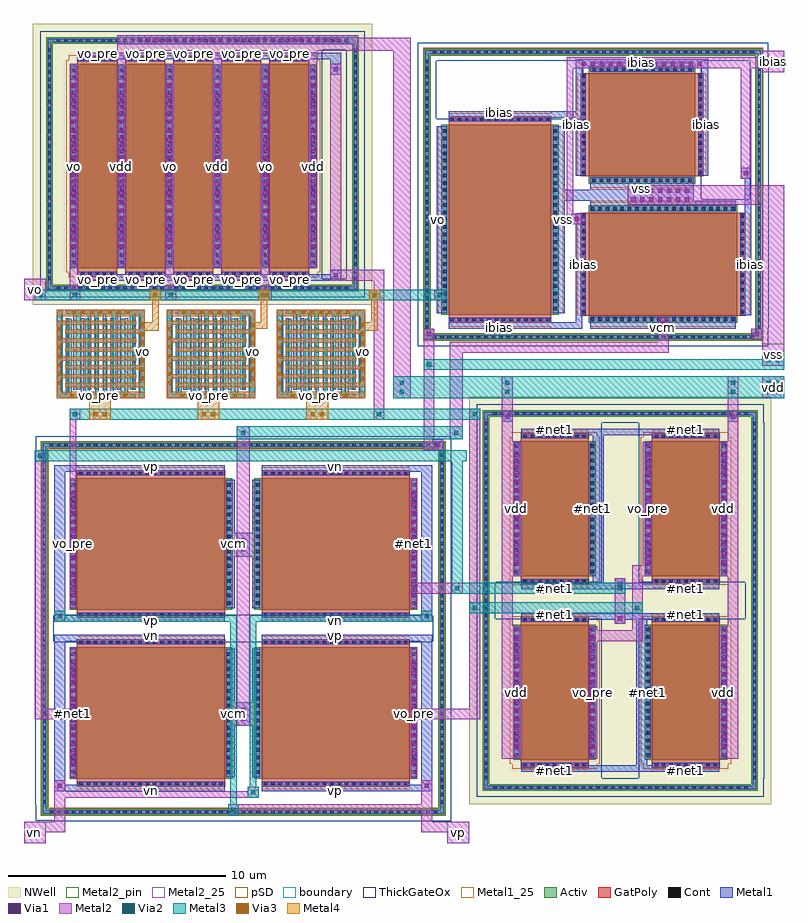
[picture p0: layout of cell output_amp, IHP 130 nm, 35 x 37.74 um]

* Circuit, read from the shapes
.subckt output_amp #net1 ibias vcm vdd vn vo vo_pre vp vss
XM1 vcm vn #net1 vss sg13_hv_nmos w=6.05u l=6.82u m=2
XM2 vcm vp vo_pre vss sg13_hv_nmos w=6.05u l=6.82u m=2
XM3 vss ibias vo vss sg13_hv_nmos w=8.77u l=4.74u
XM4 vss ibias vcm vss sg13_hv_nmos w=6.84u l=4.74u
XM5 ibias ibias vss vss sg13_hv_nmos w=4.91u l=4.74u
XM6 vdd vo_pre vo vdd sg13_hv_pmos w=9.41u l=1.83u m=5
XM7 vo_pre #net1 vdd vdd sg13_hv_pmos w=6.22u l=3.12u m=2
XM8 #net1 #net1 vdd vdd sg13_hv_pmos w=6.22u l=3.12u m=2
.ends

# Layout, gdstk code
from math import pi, radians
import gdstk
lib = gdstk.Library(unit=1e-6, precision=1e-09)
def R(c, l, rs):  # rectangles x0, y0, x1, y1
    for r in rs: c.add(gdstk.rectangle(r[:2], r[2:], *l))
def A(c, l, x, y, w, h, nx, ny, dx, dy):  # array of equal rectangles
    R(c, l, [(x+i*dx, y+j*dy, x+i*dx+w, y+j*dy+h) for i in range(nx) for j in range(ny)])
Activ = (1, 0)
GatPoly = (5, 0)
Cont = (6, 0)
Metal1 = (8, 0)
Metal1_25 = (8, 25)
Metal2 = (10, 0)
Metal2_pin = (10, 2)
Metal2_25 = (10, 25)
pSD = (14, 0)
Via1 = (19, 0)
Via2 = (29, 0)
Metal3 = (30, 0)
NWell = (31, 0)
ThickGateOx = (44, 0)
Via3 = (49, 0)
Metal4 = (50, 0)
boundary = (189, 4)

output_amp__load = lib.new_cell('output_amp__load')
R(output_amp__load, Activ, [(20.62,1.42,33.3,1.72), (20.62,1.72,20.92,18.64), (33,1.72,33.3,18.64), (20.62,18.64,33.3,18.94)])
A(output_amp__load, Cont, 21.1, 1.49, 0.16, 0.16, 35, 2, 0.34, 17.22)
A(output_amp__load, Cont, 20.69, 1.94, 0.16, 0.16, 1, 49, 0, 0.34)
A(output_amp__load, Cont, 33.07, 1.94, 0.16, 0.16, 1, 49, 0, 0.34)
R(output_amp__load, Metal1, [(20.69,1.49,33.23,1.65), (20.69,1.65,20.85,18.71), (33.07,1.65,33.23,18.71), (20.69,18.71,33.23,18.87)])
R(output_amp__load, NWell, [(20,0.8,33.92,19.56)])
R(output_amp__load, ThickGateOx, [(21.19,1.14,33.57,1.145), (21.105,1.145,33.57,1.15), (20.35,1.15,33.57,1.905), (20.345,1.905,33.575,1.99), (20.34,1.99,33.58,2), (20.34,2,21.285,2.005), (32.715,2,33.58,2.085), (20.34,2.005,21.205,2.085), (20.34,2.085,21.2,18.275), (32.72,2.085,33.58,18.275), (20.34,18.275,21.205,18.37), (32.715,18.275,33.58,18.37), (20.345,18.37,33.575,18.465), (20.35,18.465,33.57,19.21)])
output_amp__load.add(gdstk.Label('vdd', (26.96,1.57), layer=8, texttype=25))

output_amp__input = lib.new_cell('output_amp__input')
R(output_amp__input, Activ, [(0.3,0.3,18.9,0.6), (0.3,0.6,0.6,17.18), (18.6,0.6,18.9,17.18), (0.3,17.18,18.9,17.48)])
A(output_amp__input, Cont, 0.68, 0.37, 0.16, 0.16, 53, 2, 0.34, 16.88)
A(output_amp__input, Cont, 0.37, 0.82, 0.16, 0.16, 1, 48, 0, 0.34)
A(output_amp__input, Cont, 18.67, 0.82, 0.16, 0.16, 1, 48, 0, 0.34)
R(output_amp__input, Metal1, [(0.37,0.37,18.83,0.53), (0.37,0.53,0.53,17.25), (18.67,0.53,18.83,17.25), (0.37,17.25,18.83,17.41)])
R(output_amp__input, pSD, [(0.27,0.27,18.93,0.63), (0.27,0.63,0.63,17.15), (18.57,0.63,18.93,17.15), (0.27,17.15,18.93,17.51)])
R(output_amp__input, ThickGateOx, [(0.87,0.02,19.17,0.025), (0.785,0.025,19.17,0.03), (0.03,0.03,19.17,0.785), (0.025,0.785,19.175,0.87), (0.02,0.87,19.18,0.88), (0.02,0.88,0.965,0.885), (18.315,0.88,19.18,0.965), (0.02,0.885,0.885,0.965), (0.02,0.965,0.88,16.815), (18.32,0.965,19.18,16.815), (0.02,16.815,0.885,16.91), (18.315,16.815,19.18,16.91), (0.025,16.91,19.175,17.005), (0.03,17.005,19.17,17.75)])
output_amp__input.add(gdstk.Label('vss', (9.6,0.45), layer=8, texttype=25))

output_amp__bias_mirror = lib.new_cell('output_amp__bias_mirror')
R(output_amp__bias_mirror, Activ, [(17.01,21.16,32.61,21.46), (17.01,21.46,17.31,34.3), (32.31,21.46,32.61,34.3), (17.01,34.3,32.61,34.6)])
A(output_amp__bias_mirror, Cont, 17.42, 21.23, 0.16, 0.16, 44, 2, 0.34, 13.14)
A(output_amp__bias_mirror, Cont, 17.08, 21.68, 0.16, 0.16, 1, 37, 0, 0.34)
A(output_amp__bias_mirror, Cont, 32.38, 21.68, 0.16, 0.16, 1, 37, 0, 0.34)
R(output_amp__bias_mirror, Metal1, [(17.08,21.23,32.54,21.39), (17.08,21.39,17.24,34.37), (32.38,21.39,32.54,34.37), (17.08,34.37,32.54,34.53)])
R(output_amp__bias_mirror, pSD, [(16.98,21.13,32.64,21.49), (16.98,21.49,17.34,34.27), (32.28,21.49,32.64,34.27), (16.98,34.27,32.64,34.63)])
R(output_amp__bias_mirror, ThickGateOx, [(17.58,20.88,32.88,20.885), (17.495,20.885,32.88,20.89), (16.74,20.89,32.88,21.645), (16.735,21.645,32.885,21.73), (16.73,21.73,32.89,21.74), (16.73,21.74,17.675,21.745), (32.025,21.74,32.89,21.825), (16.73,21.745,17.595,21.825), (16.73,21.825,17.59,33.935), (32.03,21.825,32.89,33.935), (16.73,33.935,17.595,34.03), (32.025,33.935,32.89,34.03), (16.735,34.03,32.885,34.125), (16.74,34.125,32.88,34.87)])
output_amp__bias_mirror.add(gdstk.Label('SUB', (24.81,21.31), layer=8, texttype=25))

sg13_hv_pmos_jhnrfj = lib.new_cell('sg13_hv_pmos_JHNRFJ')
R(sg13_hv_pmos_jhnrfj, Activ, [(-5.675,-4.705,5.675,4.705)])
A(sg13_hv_pmos_jhnrfj, GatPoly, -5.335, -5.075, 1.83, 10.15, 5, 1, 2.21, 0)
A(sg13_hv_pmos_jhnrfj, Cont, -5.18, -5.005, 0.16, 0.16, 5, 2, 0.34, 9.85)
A(sg13_hv_pmos_jhnrfj, Cont, -2.97, -5.005, 0.16, 0.16, 5, 2, 0.34, 9.85)
A(sg13_hv_pmos_jhnrfj, Cont, -0.76, -5.005, 0.16, 0.16, 5, 2, 0.34, 9.85)
A(sg13_hv_pmos_jhnrfj, Cont, 1.45, -5.005, 0.16, 0.16, 5, 2, 0.34, 9.85)
A(sg13_hv_pmos_jhnrfj, Cont, 3.66, -5.005, 0.16, 0.16, 5, 2, 0.34, 9.85)
A(sg13_hv_pmos_jhnrfj, Cont, -5.605, -4.5, 0.16, 0.16, 6, 27, 2.21, 0.34)
A(sg13_hv_pmos_jhnrfj, Metal1, -5.315, -5.005, 1.79, 0.16, 5, 2, 2.21, 9.85)
A(sg13_hv_pmos_jhnrfj, Metal1, -5.655, -4.635, 0.26, 9.27, 6, 1, 2.21, 0)
R(sg13_hv_pmos_jhnrfj, pSD, [(-5.735,-5.105,5.735,-4.885), (-5.855,-4.885,5.855,4.885), (-5.735,4.885,5.735,5.105)])
R(sg13_hv_pmos_jhnrfj, NWell, [(-6.295,-5.325,6.295,5.325)])
R(sg13_hv_pmos_jhnrfj, ThickGateOx, [(-5.945,-4.975,5.945,4.975)])
sg13_hv_pmos_jhnrfj.add(gdstk.Label('D0', (-5.525,0), layer=8, texttype=25))
sg13_hv_pmos_jhnrfj.add(gdstk.Label('G0', (-4.42,4.925), layer=8, texttype=25))
sg13_hv_pmos_jhnrfj.add(gdstk.Label('S1', (-3.315,0), layer=8, texttype=25))
sg13_hv_pmos_jhnrfj.add(gdstk.Label('G1', (-2.21,4.925), layer=8, texttype=25))
sg13_hv_pmos_jhnrfj.add(gdstk.Label('D2', (-1.105,0), layer=8, texttype=25))
sg13_hv_pmos_jhnrfj.add(gdstk.Label('G2', (0,4.925), layer=8, texttype=25))
sg13_hv_pmos_jhnrfj.add(gdstk.Label('S3', (1.105,0), layer=8, texttype=25))
sg13_hv_pmos_jhnrfj.add(gdstk.Label('G3', (2.21,4.925), layer=8, texttype=25))
sg13_hv_pmos_jhnrfj.add(gdstk.Label('D4', (3.315,0), layer=8, texttype=25))
sg13_hv_pmos_jhnrfj.add(gdstk.Label('S4', (5.525,0), layer=8, texttype=25))
sg13_hv_pmos_jhnrfj.add(gdstk.Label('G4', (4.42,4.925), layer=8, texttype=25))

sg13_hv_pmos_ltz4pf = lib.new_cell('sg13_hv_pmos_LTZ4PF')
R(sg13_hv_pmos_ltz4pf, Activ, [(-1.9,-3.11,1.9,3.11)])
R(sg13_hv_pmos_ltz4pf, GatPoly, [(-1.56,-3.48,1.56,3.48)])
A(sg13_hv_pmos_ltz4pf, Cont, -1.44, -3.41, 0.16, 0.16, 9, 2, 0.34, 6.66)
A(sg13_hv_pmos_ltz4pf, Cont, -1.83, -2.97, 0.16, 0.16, 1, 18, 0, 0.34)
A(sg13_hv_pmos_ltz4pf, Cont, 1.67, -2.97, 0.16, 0.16, 1, 18, 0, 0.34)
R(sg13_hv_pmos_ltz4pf, Metal1, [(-1.54,-3.41,1.54,-3.25), (-1.88,-3.04,-1.62,3.04), (1.62,-3.04,1.88,3.04), (-1.54,3.25,1.54,3.41)])
R(sg13_hv_pmos_ltz4pf, pSD, [(-1.96,-3.51,1.96,-3.29), (-2.08,-3.29,2.08,3.29), (-1.96,3.29,1.96,3.51)])
R(sg13_hv_pmos_ltz4pf, NWell, [(-2.52,-3.73,2.52,3.73)])
R(sg13_hv_pmos_ltz4pf, ThickGateOx, [(-2.17,-3.38,2.17,3.38)])
sg13_hv_pmos_ltz4pf.add(gdstk.Label('D', (-1.75,0), layer=8, texttype=25))
sg13_hv_pmos_ltz4pf.add(gdstk.Label('S', (1.75,0), layer=8, texttype=25))
sg13_hv_pmos_ltz4pf.add(gdstk.Label('G', (0,3.33), layer=8, texttype=25))

sg13_hv_nmos_8zady4 = lib.new_cell('sg13_hv_nmos_8ZADY4')
R(sg13_hv_nmos_8zady4, Activ, [(-3.75,-3.025,3.75,3.025)])
R(sg13_hv_nmos_8zady4, GatPoly, [(-3.41,-3.395,3.41,3.395)])
A(sg13_hv_nmos_8zady4, Cont, -3.31, -3.325, 0.16, 0.16, 20, 2, 0.34, 6.49)
A(sg13_hv_nmos_8zady4, Cont, -3.68, -2.8, 0.16, 0.16, 1, 17, 0, 0.34)
A(sg13_hv_nmos_8zady4, Cont, 3.52, -2.8, 0.16, 0.16, 1, 17, 0, 0.34)
R(sg13_hv_nmos_8zady4, Metal1, [(-3.39,-3.325,3.39,-3.165), (-3.73,-2.955,-3.47,2.955), (3.47,-2.955,3.73,2.955), (-3.39,3.165,3.39,3.325)])
R(sg13_hv_nmos_8zady4, ThickGateOx, [(-4.02,-3.295,4.02,3.295)])
sg13_hv_nmos_8zady4.add(gdstk.Label('D', (-3.6,0), layer=8, texttype=25))
sg13_hv_nmos_8zady4.add(gdstk.Label('S', (3.6,0), layer=8, texttype=25))
sg13_hv_nmos_8zady4.add(gdstk.Label('G', (0,3.245), layer=8, texttype=25))

sg13_hv_nmos_ug3wab = lib.new_cell('sg13_hv_nmos_UG3WAB')
R(sg13_hv_nmos_ug3wab, Activ, [(-2.71,-4.385,2.71,4.385)])
R(sg13_hv_nmos_ug3wab, GatPoly, [(-2.37,-4.755,2.37,4.755)])
A(sg13_hv_nmos_ug3wab, Cont, -2.29, -4.685, 0.16, 0.16, 14, 2, 0.34, 9.21)
A(sg13_hv_nmos_ug3wab, Cont, -2.64, -4.16, 0.16, 0.16, 1, 25, 0, 0.34)
A(sg13_hv_nmos_ug3wab, Cont, 2.48, -4.16, 0.16, 0.16, 1, 25, 0, 0.34)
R(sg13_hv_nmos_ug3wab, Metal1, [(-2.35,-4.685,2.35,-4.525), (-2.69,-4.315,-2.43,4.315), (2.43,-4.315,2.69,4.315), (-2.35,4.525,2.35,4.685)])
R(sg13_hv_nmos_ug3wab, ThickGateOx, [(-2.98,-4.655,2.98,4.655)])
sg13_hv_nmos_ug3wab.add(gdstk.Label('D', (-2.56,0), layer=8, texttype=25))
sg13_hv_nmos_ug3wab.add(gdstk.Label('S', (2.56,0), layer=8, texttype=25))
sg13_hv_nmos_ug3wab.add(gdstk.Label('G', (0,4.605), layer=8, texttype=25))

sg13_hv_nmos_z5u2v7 = lib.new_cell('sg13_hv_nmos_Z5U2V7')
R(sg13_hv_nmos_z5u2v7, Activ, [(-2.71,-3.42,2.71,3.42)])
R(sg13_hv_nmos_z5u2v7, GatPoly, [(-2.37,-3.79,2.37,3.79)])
A(sg13_hv_nmos_z5u2v7, Cont, -2.29, -3.72, 0.16, 0.16, 14, 2, 0.34, 7.28)
A(sg13_hv_nmos_z5u2v7, Cont, -2.64, -3.31, 0.16, 0.16, 1, 20, 0, 0.34)
A(sg13_hv_nmos_z5u2v7, Cont, 2.48, -3.31, 0.16, 0.16, 1, 20, 0, 0.34)
R(sg13_hv_nmos_z5u2v7, Metal1, [(-2.35,-3.72,2.35,-3.56), (-2.69,-3.35,-2.43,3.35), (2.43,-3.35,2.69,3.35), (-2.35,3.56,2.35,3.72)])
R(sg13_hv_nmos_z5u2v7, ThickGateOx, [(-2.98,-3.69,2.98,3.69)])
sg13_hv_nmos_z5u2v7.add(gdstk.Label('D', (-2.56,0), layer=8, texttype=25))
sg13_hv_nmos_z5u2v7.add(gdstk.Label('S', (2.56,0), layer=8, texttype=25))
sg13_hv_nmos_z5u2v7.add(gdstk.Label('G', (0,3.64), layer=8, texttype=25))

sg13_hv_nmos_xv93th = lib.new_cell('sg13_hv_nmos_XV93TH')
R(sg13_hv_nmos_xv93th, Activ, [(-2.71,-2.455,2.71,2.455)])
R(sg13_hv_nmos_xv93th, GatPoly, [(-2.37,-2.825,2.37,2.825)])
A(sg13_hv_nmos_xv93th, Cont, -2.29, -2.755, 0.16, 0.16, 14, 2, 0.34, 5.35)
A(sg13_hv_nmos_xv93th, Cont, -2.64, -2.29, 0.16, 0.16, 1, 14, 0, 0.34)
A(sg13_hv_nmos_xv93th, Cont, 2.48, -2.29, 0.16, 0.16, 1, 14, 0, 0.34)
R(sg13_hv_nmos_xv93th, Metal1, [(-2.35,-2.755,2.35,-2.595), (-2.69,-2.385,-2.43,2.385), (2.43,-2.385,2.69,2.385), (-2.35,2.595,2.35,2.755)])
R(sg13_hv_nmos_xv93th, ThickGateOx, [(-2.98,-2.725,2.98,2.725)])
sg13_hv_nmos_xv93th.add(gdstk.Label('D', (-2.56,0), layer=8, texttype=25))
sg13_hv_nmos_xv93th.add(gdstk.Label('S', (2.56,0), layer=8, texttype=25))
sg13_hv_nmos_xv93th.add(gdstk.Label('G', (0,2.675), layer=8, texttype=25))

cap_cmomf_ge9lny = lib.new_cell('cap_cmomf_GE9LNY')
A(cap_cmomf_ge9lny, Metal1, 0.425, 0.21, 0.16, 3.47, 5, 1, 0.68, 0)
A(cap_cmomf_ge9lny, Metal1, 0.765, 0.39, 0.16, 3.47, 5, 1, 0.68, 0)
R(cap_cmomf_ge9lny, Metal1, [(0,0,3.645,0.21), (3.825,0,4.07,3.86), (0,0.21,0.245,4.07), (0.425,3.86,4.07,4.07)])
A(cap_cmomf_ge9lny, Metal2, 0, 0.29, 0.205, 0.62, 1, 4, 0, 0.82)
A(cap_cmomf_ge9lny, Metal2, 0.42, 0.5, 3.65, 0.2, 1, 4, 0, 0.82)
A(cap_cmomf_ge9lny, Metal2, 3.865, 0.7, 0.205, 0.62, 1, 4, 0, 0.82)
A(cap_cmomf_ge9lny, Metal2, 0, 0.91, 3.65, 0.2, 1, 4, 0, 0.82)
R(cap_cmomf_ge9lny, Metal2, [(0,0,4.07,0.29), (0,3.78,4.07,4.07)])
A(cap_cmomf_ge9lny, Via1, 0.71, 0.01, 0.19, 0.19, 7, 1, 0.41, 0)
A(cap_cmomf_ge9lny, Via1, 0.01, 0.61, 0.19, 0.19, 1, 7, 0, 0.41)
A(cap_cmomf_ge9lny, Via1, 3.87, 0.81, 0.19, 0.19, 1, 7, 0, 0.41)
A(cap_cmomf_ge9lny, Via1, 0.81, 3.87, 0.19, 0.19, 7, 1, 0.41, 0)
A(cap_cmomf_ge9lny, Via2, 0.71, 0.005, 0.19, 0.19, 7, 1, 0.41, 0)
A(cap_cmomf_ge9lny, Via2, 0.005, 0.61, 0.19, 0.19, 1, 7, 0, 0.41)
A(cap_cmomf_ge9lny, Via2, 3.875, 0.81, 0.19, 0.19, 1, 7, 0, 0.41)
A(cap_cmomf_ge9lny, Via2, 0.81, 3.875, 0.19, 0.19, 7, 1, 0.41, 0)
A(cap_cmomf_ge9lny, Metal3, 0.5, 0.2, 0.2, 3.46, 4, 1, 0.82, 0)
A(cap_cmomf_ge9lny, Metal3, 0.91, 0.41, 0.2, 3.46, 4, 1, 0.82, 0)
R(cap_cmomf_ge9lny, Metal3, [(0,0,3.57,0.2), (3.78,0,4.07,3.87), (0,0.2,0.29,4.07), (0.5,3.87,4.07,4.07)])
A(cap_cmomf_ge9lny, Via3, 0.71, 0.005, 0.19, 0.19, 7, 1, 0.41, 0)
A(cap_cmomf_ge9lny, Via3, 0.005, 0.61, 0.19, 0.19, 1, 7, 0, 0.41)
A(cap_cmomf_ge9lny, Via3, 3.875, 0.81, 0.19, 0.19, 1, 7, 0, 0.41)
A(cap_cmomf_ge9lny, Via3, 0.81, 3.875, 0.19, 0.19, 7, 1, 0.41, 0)
A(cap_cmomf_ge9lny, Metal4, 0, 0.29, 0.2, 0.62, 1, 4, 0, 0.82)
A(cap_cmomf_ge9lny, Metal4, 0.41, 0.5, 3.66, 0.2, 1, 4, 0, 0.82)
A(cap_cmomf_ge9lny, Metal4, 3.87, 0.7, 0.2, 0.62, 1, 4, 0, 0.82)
A(cap_cmomf_ge9lny, Metal4, 0, 0.91, 3.66, 0.2, 1, 4, 0, 0.82)
R(cap_cmomf_ge9lny, Metal4, [(0,0,4.07,0.29), (0,3.78,4.07,4.07)])
R(cap_cmomf_ge9lny, boundary, [(0,0,4.07,4.07)])
cap_cmomf_ge9lny.add(gdstk.Label('c1', (0.01,2.035), layer=50, texttype=25))
cap_cmomf_ge9lny.add(gdstk.Label('c2', (2.035,4.06), layer=50, texttype=25))

output_amp = lib.new_cell('output_amp')
R(output_amp, Activ, [(0.52,24.42,14.92,24.72), (0.52,24.72,0.82,35.82), (14.62,24.72,14.92,35.82), (0.52,35.82,14.92,36.12)])
A(output_amp, Cont, 1.01, 24.49, 0.16, 0.16, 40, 2, 0.34, 11.4)
A(output_amp, Cont, 0.59, 24.92, 0.16, 0.16, 1, 32, 0, 0.34)
A(output_amp, Cont, 14.69, 24.92, 0.16, 0.16, 1, 32, 0, 0.34)
A(output_amp, Metal1, 1.98, 25.2, 1.79, 0.13, 5, 1, 2.21, 0)
A(output_amp, Metal1, 1.69, 25.54, 0.16, 0.845, 6, 2, 2.21, 8.425)
A(output_amp, Metal1, 1.67, 26.385, 0.2, 7.58, 6, 1, 2.21, 0)
A(output_amp, Metal1, 1.98, 35.02, 1.79, 0.08, 5, 1, 2.21, 0)
R(output_amp, Metal1, [(0.9,1.4,8.74,1.7), (10.46,1.4,18.3,1.7), (0.9,1.7,1.4,8.3), (1.96,1.7,8.74,1.83), (10.46,1.7,17.24,1.83), (17.8,1.7,18.3,8.3), (1.67,2.04,1.83,2.64), (8.82,2.04,9.2,4.4), (10,2.04,10.38,4.4), (17.37,2.04,17.53,2.64), (22.4,2.3,31.52,2.6), (22.4,2.6,25.48,2.7), (27.7,2.6,28.2,2.91), (28.44,2.6,31.52,2.7), (1.65,2.64,1.85,7.35), (17.35,2.64,17.55,7.35), (22.11,2.91,22.27,3.39), (25.61,2.91,25.77,3.39), (27.7,2.91,28.31,8.99), (31.65,2.91,31.81,3.39), (22.09,3.39,22.29,8.51), (25.59,3.39,25.79,8.51), (31.63,3.39,31.83,8.51), (8.82,4.4,10.38,5.5), (8.82,5.5,9.2,7.95), (10,5.5,10.38,7.95), (1.67,7.35,1.83,7.95), (17.37,7.35,17.53,7.95), (1.96,8.16,8.74,8.3), (10.46,8.16,17.24,8.3), (0.9,8.3,8.74,8.6), (10.46,8.3,18.3,8.6), (22.11,8.51,22.27,8.99), (25.61,8.51,25.77,8.99), (31.65,8.51,31.81,8.99), (27.7,8.99,28.2,9.3), (26.7,9.1,27.2,9.3), (0.9,9.2,8.74,9.5), (10.46,9.2,18.3,9.5), (22.4,9.2,25.48,9.3), (28.44,9.2,31.52,9.3), (22.4,9.3,31.52,9.6), (0.9,9.5,1.4,16.1), (1.96,9.5,8.74,9.62), (10.46,9.5,17.24,9.62), (17.8,9.5,18.3,16.1), (1.67,9.83,1.83,10.43), (8.82,9.83,9.2,12.2), (10,9.83,10.38,12.2), (17.35,9.83,17.55,15.74), (1.65,10.43,1.85,15.14), (22.4,10.7,31.52,11), (22.4,11,25.48,11.16), (25.7,11,26.2,11.37), (26.7,11,27.2,11.2), (28.44,11,31.52,11.16), (22.11,11.37,22.27,11.85), (25.61,11.37,26.2,17.45), (28.15,11.37,28.31,11.85), (31.65,11.37,31.81,11.85), (22.08,11.85,22.28,16.97), (28.13,11.85,28.33,16.97), (31.63,11.85,31.83,16.97), (8.82,12.2,10.38,13.3), (8.82,13.3,9.2,15.74), (10,13.3,10.38,15.74), (1.67,15.14,1.83,15.74), (2,15.95,8.74,16.1), (10.46,15.95,17.24,16.1), (0.9,16.1,8.74,16.4), (10.46,16.1,18.3,16.4), (22.11,16.97,22.27,17.45), (28.15,16.97,28.31,17.45), (31.65,16.97,31.81,17.45), (18.3,17.1,18.8,17.6), (25.7,17.45,26.2,17.8), (22.4,17.66,25.48,17.8), (28.44,17.66,31.52,17.8), (22.4,17.8,31.52,18.1), (21.5,18.4,22,18.9), (31.9,18.4,32.4,18.9), (17.9,22.2,18.4,22.7), (33,22.2,33.5,22.7), (19.07,22.7,25.2,23), (25.57,22.7,32.27,23.24), (19.07,23,23.77,23.19), (24.9,23,25.2,23.32), (24.9,23.32,25.38,27.5), (32.48,23.32,33,28.02), (18.5,23.4,18.99,24), (23.85,23.4,24.4,28.6), (18.4,24,18.99,24.5), (0.59,24.49,14.85,24.65), (18.5,24.5,18.99,32.03), (0.59,24.65,0.75,35.89), (14.69,24.65,14.85,35.8), (1.98,24.9,14.1,25.2), (13.6,25.2,14.1,25.4), (24.7,27.5,25.38,28), (24.9,28,25.38,28.02), (32.69,28.02,33,29.6), (25.57,28.1,32.27,28.6), (23.85,28.6,30.34,29.1), (23.85,29.1,24.4,32.03), (25.57,29.1,30.34,29.66), (32.5,29.6,33,30.1), (24.9,29.74,25.36,32.4), (30.55,29.74,31,34.44), (19.07,32.24,23.77,32.4), (19.07,32.4,25.36,32.7), (24.9,32.7,25.36,34.44), (13.6,34.4,14.1,35.1), (24.9,34.44,25.2,34.7), (30.7,34.44,31,34.7), (25.57,34.52,30.34,34.7), (24.9,34.7,31,35.1), (1.98,35.1,14.1,35.4), (3.8,35.8,14.9,35.89), (0.59,35.89,14.9,36.05), (3.8,36.05,14.9,36.2)])
A(output_amp, Metal1_25, 1.98, 24.9, 1.79, 0.1, 5, 2, 2.21, 10.4)
R(output_amp, Metal1_25, [(1.96,1.4,8.74,1.5), (10.46,1.4,17.24,1.5), (9.1,2.04,9.2,7.95), (10,2.04,10.1,7.95), (22.4,2.3,25.48,2.4), (28.44,2.3,31.52,2.4), (1.96,8.5,8.74,8.6), (10.46,8.5,17.24,8.6), (1.96,9.2,8.74,9.3), (10.46,9.2,17.24,9.3), (22.4,9.5,25.48,9.6), (28.44,9.5,31.52,9.6), (9.1,9.83,9.2,15.74), (10,9.83,10.1,15.74), (22.4,10.7,25.48,10.8), (28.44,10.7,31.52,10.8), (2,16.3,8.74,16.4), (10.46,16.3,17.24,16.4), (22.4,18,25.48,18.1), (28.44,18,31.52,18.1), (19.07,22.7,23.77,22.8), (25.57,22.7,32.27,22.8), (24.9,23.32,25,28.02), (32.9,23.32,33,28.02), (18.5,23.4,18.6,32.03), (24.3,23.4,24.4,32.03), (25.57,28.5,32.27,28.6), (25.57,29.1,30.34,29.2), (24.9,29.74,25,34.44), (30.9,29.74,31,34.44), (19.07,32.6,23.77,32.7)])
A(output_amp, Metal2, 1.6, 24, 0.5, 0.5, 3, 1, 4.4, 0)
A(output_amp, Metal2, 1.6, 24.5, 0.4, 10.4, 3, 1, 4.4, 0)
A(output_amp, Metal2, 3.8, 25.5, 0.4, 10, 3, 1, 4.4, 0)
R(output_amp, Metal2, [(-0.5,-1,0.5,-0.5), (19,-1,20,-0.5), (-0.5,-0.5,1.4,0), (17.8,-0.5,20,0), (0.9,0,1.4,1.1), (17.8,0,18.3,0.5), (8.9,0.3,9.4,0.5), (8.9,0.5,18.3,0.8), (17.8,0.8,18.3,1.9), (0.9,1.1,10.3,1.4), (0.9,1.4,1.4,1.9), (9.8,1.4,10.3,1.6), (1.6,2,1.9,4.7), (17.3,2,17.6,4.7), (21.5,2.9,22.4,9), (25.5,2.9,25.9,8.3), (31.5,2.9,32.4,9), (9.3,4.4,9.9,18.2), (0,4.7,1.9,5.2), (17.3,4.7,20.5,5.2), (0,5.2,0.5,17.1), (1.6,5.2,1.9,8), (17.3,5.2,17.6,8), (20,5.2,20.5,19), (25.5,8.3,28,8.8), (25.5,8.8,25.9,9), (27.5,8.8,28,11.3), (21.5,9,22,11.3), (31.9,9,32.4,11.3), (26.7,9.1,27.2,11.2), (0.9,9.2,1.4,9.7), (17.8,9.2,18.3,9.7), (1.6,9.8,1.9,18.5), (17.3,9.8,17.6,10.5), (17.3,10.5,19.7,11), (17.3,11,17.6,15.8), (21.5,11.3,22.4,17.5), (27.5,11.3,28.4,11.8), (31.5,11.3,32.4,17.5), (28,11.8,28.4,17.5), (17.9,17.1,18.8,17.6), (21.5,17.5,22,20.5), (31.9,17.5,32.4,20.5), (17.9,17.6,18.4,22.7), (19.1,17.6,19.7,21.6), (1.6,18.5,2.1,19), (15.6,18.5,16.1,24.9), (16.5,19.5,17.3,35.5), (33.5,19.5,34.5,20.5), (33.5,21,34.5,22.2), (19.1,21.6,29.2,22.1), (28.7,22.1,29.2,23.2), (33,22.2,34.5,22.7), (33.5,22.7,34.5,28.4), (-0.5,24,0.5,25), (18.4,24,18.9,24.5), (13.6,24.9,16.1,25.4), (13.6,25.4,14.1,34.9), (24.5,27.5,25.2,28), (24.5,28,24.8,34.7), (27.3,28.4,34.5,29.3), (32.5,29.6,33,34.7), (33.5,34.5,34.5,34.7), (24.5,34.7,34.5,35.2), (33.5,35.2,34.5,35.5), (3.8,35.5,17.3,36.1), (3.8,36.1,14.9,36.2)])
R(output_amp, Metal2_pin, [(-0.5,-1,0.5,0), (19,-1,20,0), (33.5,19.5,34.5,20.5), (33.5,21,34.5,22), (-0.5,24,0.5,25), (33.5,34.5,34.5,35.5)])
R(output_amp, Metal2_25, [(25.57,34.9,30.34,35)])
A(output_amp, Via1, 1.655, 2.645, 0.19, 0.19, 1, 12, 0, 0.41)
A(output_amp, Via1, 17.355, 2.645, 0.19, 0.19, 1, 12, 0, 0.41)
A(output_amp, Via1, 22.095, 3.395, 0.19, 0.19, 1, 13, 0, 0.41)
A(output_amp, Via1, 25.595, 3.395, 0.19, 0.19, 1, 13, 0, 0.41)
A(output_amp, Via1, 31.635, 3.395, 0.19, 0.19, 1, 13, 0, 0.41)
A(output_amp, Via1, 1.655, 10.435, 0.19, 0.19, 1, 12, 0, 0.41)
A(output_amp, Via1, 17.355, 10.435, 0.19, 0.19, 1, 12, 0, 0.41)
A(output_amp, Via1, 22.085, 11.855, 0.19, 0.19, 1, 13, 0, 0.41)
A(output_amp, Via1, 28.135, 11.855, 0.19, 0.19, 1, 13, 0, 0.41)
A(output_amp, Via1, 31.635, 11.855, 0.19, 0.19, 1, 13, 0, 0.41)
A(output_amp, Via1, 1.675, 26.39, 0.19, 0.19, 6, 19, 2.21, 0.41)
A(output_amp, Via1, 27.475, 28.55, 0.19, 0.19, 7, 2, 0.41, 0.41)
A(output_amp, Via1, 25.19, 34.805, 0.19, 0.19, 14, 1, 0.41, 0)
A(output_amp, Via1, 4.745, 35.905, 0.19, 0.19, 23, 1, 0.41, 0)
R(output_amp, Via1, [(1.055,1.555,1.245,1.745), (17.955,1.555,18.145,1.745), (9.505,4.65,9.695,4.84), (9.505,5.06,9.695,5.25), (26.855,9.255,27.045,9.445), (1.055,9.355,1.245,9.545), (17.955,9.355,18.145,9.545), (26.855,10.855,27.045,11.045), (9.505,12.45,9.695,12.64), (9.505,12.86,9.695,13.05), (18.455,17.255,18.645,17.445), (21.655,18.555,21.845,18.745), (32.055,18.555,32.245,18.745), (18.055,22.355,18.245,22.545), (33.155,22.355,33.345,22.545), (28.855,22.855,29.045,23.045), (18.555,24.155,18.745,24.345), (13.755,25.055,13.945,25.245), (24.855,27.655,25.045,27.845), (32.655,29.755,32.845,29.945), (13.755,34.555,13.945,34.745)])
A(output_amp, Via2, 1.755, 24.155, 0.19, 0.19, 3, 1, 4.4, 0)
R(output_amp, Via2, [(9.055,0.455,9.245,0.645), (9.955,1.255,10.145,1.445), (1.055,9.355,1.245,9.545), (17.955,9.355,18.145,9.545), (20.155,9.755,20.345,9.945), (27.655,9.755,27.845,9.945), (19.355,10.655,19.545,10.845), (26.855,10.655,27.045,10.845), (0.155,16.755,0.345,16.945), (9.505,17.805,9.695,17.995), (19.305,17.805,19.495,17.995), (1.755,18.655,1.945,18.845), (15.755,18.655,15.945,18.845), (20.155,18.655,20.345,18.845), (16.805,19.7,16.995,19.89), (21.655,19.7,21.845,19.89), (32.055,19.7,32.245,19.89), (33.7,19.7,33.89,19.89), (34.11,19.7,34.3,19.89), (16.805,20.11,16.995,20.3), (21.655,20.11,21.845,20.3), (32.055,20.11,32.245,20.3), (33.7,20.11,33.89,20.3), (34.11,20.11,34.3,20.3), (18.055,20.955,18.245,21.145), (33.7,21.155,33.89,21.345), (34.11,21.155,34.3,21.345), (0.155,24.155,0.345,24.345), (18.555,24.155,18.745,24.345)])
R(output_amp, Metal3, [(8.9,0.3,9.4,0.8), (9,0.8,9.3,9.2), (9.8,1.1,10.3,1.6), (9.9,1.6,10.2,9.2), (0.9,9.2,9.3,9.5), (9.9,9.2,18.3,9.5), (0.9,9.5,1.4,9.7), (17.8,9.5,18.3,9.7), (20,9.6,28,10.1), (19.2,10.5,27.2,11), (19.2,11,19.7,16.6), (0,16.6,19.9,17.1), (9.3,17.6,19.7,18.2), (1.6,18.5,20.5,19), (16.5,19.5,34.5,20.5), (17.9,20.8,34.5,21.3), (33.5,21.3,34.5,21.5), (0,24,18.9,24.5)])
R(output_amp, NWell, [(-0.1,23.8,15.54,36.74)])
R(output_amp, ThickGateOx, [(0.965,0.88,18.315,0.885), (0.885,0.885,18.315,0.965), (0.88,0.965,18.32,1.7), (0.88,1.7,1.33,8.29), (9.37,1.7,9.83,8.29), (17.87,1.7,18.32,8.29), (21.285,2,26.11,2.005), (27.81,2,32.715,2.085), (21.205,2.005,26.11,2.085), (21.2,2.085,26.11,2.57), (27.81,2.085,32.72,2.57), (21.2,2.57,21.77,9.33), (32.15,2.57,32.72,9.33), (0.88,9.49,1.33,16.08), (9.37,9.49,9.83,16.08), (17.87,9.49,18.32,16.08), (21.2,11.03,21.77,17.79), (32.15,11.03,32.72,17.79), (0.88,16.08,18.32,16.815), (0.885,16.815,18.315,16.91), (21.2,17.79,26.11,18.275), (27.81,17.79,32.72,18.275), (21.205,18.275,26.11,18.37), (27.81,18.275,32.715,18.37), (17.63,22.465,17.64,22.645), (17.63,22.645,17.635,22.73), (18.575,22.74,25.23,22.745), (32.61,22.74,32.925,22.825), (18.495,22.745,25.23,22.825), (18.49,22.825,25.23,23.06), (32.61,22.825,32.93,28.65), (24.4,23.06,25.23,28.65), (1.09,24.14,15.19,24.145), (1.005,24.145,15.19,24.15), (0.25,24.15,15.19,24.905), (0.245,24.905,15.195,24.99), (0.24,24.99,15.2,25), (0.24,25,13.24,25.2), (14.335,25,15.2,25.085), (14.34,25.085,15.2,35.455), (0.24,25.2,1.35,35.15), (24.4,28.65,30.68,29.11), (24.4,29.11,25.23,32.37), (0.24,35.15,13.24,35.55), (14.335,35.455,15.2,35.55), (0.245,35.55,15.195,35.645), (0.25,35.645,15.19,36.39)])
R(output_amp, Via3, [(2.7,18.655,2.89,18.845), (3.11,18.655,3.3,18.845), (7.7,18.655,7.89,18.845), (8.11,18.655,8.3,18.845), (12.7,18.655,12.89,18.845), (13.11,18.655,13.3,18.845), (5.455,24.155,5.645,24.345), (10.455,24.155,10.645,24.345), (15.555,24.155,15.745,24.345)])
A(output_amp, Metal4, 2.5, 18.5, 1, 1, 3, 1, 5, 0)
A(output_amp, Metal4, 1.5, 19.5, 2.87, 0.2, 3, 1, 5.07, 0)
A(output_amp, Metal4, 4.87, 23, 0.2, 0.07, 3, 1, 5.07, 0)
R(output_amp, Metal4, [(4.87,20.2,5.07,22.6), (9.94,20.2,10.14,22.7), (15.01,20.2,15.21,22.6), (4.87,22.6,5.7,23), (15.01,22.6,15.8,23), (9.94,22.7,10.7,23), (5.4,23,5.7,24), (10.4,23,10.7,24), (15.5,23,15.8,24), (5.3,24,5.8,24.5), (10.3,24,10.8,24.5), (15.4,24,15.9,24.5)])
output_amp.add(gdstk.Reference(output_amp__load, (0,0)))
output_amp.add(gdstk.Reference(output_amp__input, (0,0)))
output_amp.add(gdstk.Reference(output_amp__bias_mirror, (0.9,1)))
output_amp.add(gdstk.Reference(sg13_hv_pmos_jhnrfj, (7.295,30.175), rotation=pi))
output_amp.add(gdstk.Reference(sg13_hv_pmos_ltz4pf, (29.98,14.41), rotation=pi))
output_amp.add(gdstk.Reference(sg13_hv_pmos_ltz4pf, (23.94,5.95), rotation=pi))
output_amp.add(gdstk.Reference(sg13_hv_pmos_ltz4pf, (23.94,14.41), rotation=pi))
output_amp.add(gdstk.Reference(sg13_hv_pmos_ltz4pf, (29.98,5.95), rotation=pi))
output_amp.add(gdstk.Reference(sg13_hv_nmos_8zady4, (5.35,12.785), x_reflection=True))
output_amp.add(gdstk.Reference(sg13_hv_nmos_8zady4, (13.85,4.995), x_reflection=True))
output_amp.add(gdstk.Reference(sg13_hv_nmos_8zady4, (13.85,12.785), x_reflection=True))
output_amp.add(gdstk.Reference(sg13_hv_nmos_8zady4, (5.35,4.995), x_reflection=True))
output_amp.add(gdstk.Reference(sg13_hv_nmos_ug3wab, (21.42,27.715)))
output_amp.add(gdstk.Reference(sg13_hv_nmos_z5u2v7, (28.92,25.67), rotation=3*pi/2))
output_amp.add(gdstk.Reference(sg13_hv_nmos_xv93th, (27.955,32.09), rotation=pi/2, x_reflection=True))
output_amp.add(gdstk.Reference(cap_cmomf_ge9lny, (5.07,23.57), rotation=pi))
output_amp.add(gdstk.Reference(cap_cmomf_ge9lny, (10.14,23.57), rotation=pi))
output_amp.add(gdstk.Reference(cap_cmomf_ge9lny, (15.21,23.57), rotation=pi))
output_amp.add(gdstk.Label('#net1', (1.75,4.995), layer=10, texttype=25))
output_amp.add(gdstk.Label('vo_pre', (17.45,4.995), layer=10, texttype=25))
output_amp.add(gdstk.Label('vo_pre', (1.75,12.785), layer=10, texttype=25))
output_amp.add(gdstk.Label('vcm', (9.15,12.785), layer=8, texttype=25))
output_amp.add(gdstk.Label('vcm', (10.05,12.785), layer=8, texttype=25))
output_amp.add(gdstk.Label('vcm', (9.15,4.995), layer=8, texttype=25))
output_amp.add(gdstk.Label('vcm', (10.05,4.995), layer=8, texttype=25))
output_amp.add(gdstk.Label('vdd', (31.73,5.95), layer=10, texttype=25))
output_amp.add(gdstk.Label('#net1', (28.23,5.95), layer=8, texttype=25))
output_amp.add(gdstk.Label('vo_pre', (25.69,5.95), layer=10, texttype=25))
output_amp.add(gdstk.Label('vdd', (22.19,5.95), layer=10, texttype=25))
output_amp.add(gdstk.Label('vdd', (31.73,14.41), layer=10, texttype=25))
output_amp.add(gdstk.Label('vo_pre', (28.23,14.41), layer=10, texttype=25))
output_amp.add(gdstk.Label('#net1', (25.69,14.41), layer=8, texttype=25))
output_amp.add(gdstk.Label('vdd', (22.19,14.41), layer=10, texttype=25))
output_amp.add(gdstk.Label('#net1', (23.94,10.75), layer=8, texttype=25))
output_amp.add(gdstk.Label('#net1', (29.98,10.75), layer=8, texttype=25))
output_amp.add(gdstk.Label('#net1', (23.94,18.05), layer=8, texttype=25))
output_amp.add(gdstk.Label('#net1', (29.98,18.05), layer=8, texttype=25))
output_amp.add(gdstk.Label('#net1', (23.94,9.55), layer=8, texttype=25))
output_amp.add(gdstk.Label('#net1', (29.98,9.55), layer=8, texttype=25))
output_amp.add(gdstk.Label('#net1', (23.94,2.35), layer=8, texttype=25))
output_amp.add(gdstk.Label('#net1', (29.98,2.35), layer=8, texttype=25))
output_amp.add(gdstk.Label('vn', (13.85,9.25), layer=8, texttype=25))
output_amp.add(gdstk.Label('vn', (13.85,16.35), layer=8, texttype=25))
output_amp.add(gdstk.Label('vp', (13.85,8.55), layer=8, texttype=25))
output_amp.add(gdstk.Label('vp', (13.85,1.45), layer=8, texttype=25))
output_amp.add(gdstk.Label('vn', (13.85,9.54), layer=8, texttype=25))
output_amp.add(gdstk.Label('vcm', (10.25,12.785), layer=8, texttype=25))
output_amp.add(gdstk.Label('#net1', (17.45,12.785), layer=10, texttype=25))
output_amp.add(gdstk.Label('vo_pre', (13.075,19.6), layer=50, texttype=25))
output_amp.add(gdstk.Label('vo', (15.11,21.635), layer=50, texttype=25))
output_amp.add(gdstk.Label('vo_pre', (8.005,19.6), layer=50, texttype=25))
output_amp.add(gdstk.Label('vo', (10.04,21.635), layer=50, texttype=25))
output_amp.add(gdstk.Label('vo_pre', (2.935,19.6), layer=50, texttype=25))
output_amp.add(gdstk.Label('vo', (4.97,21.635), layer=50, texttype=25))
output_amp.add(gdstk.Label('vdd', (12.82,30.175), layer=10, texttype=25))
output_amp.add(gdstk.Label('vdd', (8.4,30.175), layer=10, texttype=25))
output_amp.add(gdstk.Label('vdd', (3.98,30.175), layer=10, texttype=25))
output_amp.add(gdstk.Label('vo', (10.61,30.175), layer=10, texttype=25))
output_amp.add(gdstk.Label('vo', (6.19,30.175), layer=10, texttype=25))
output_amp.add(gdstk.Label('vo', (1.77,30.175), layer=10, texttype=25))
output_amp.add(gdstk.Label('vo_pre', (2.875,24.95), layer=8, texttype=25))
output_amp.add(gdstk.Label('vo_pre', (5.085,24.95), layer=8, texttype=25))
output_amp.add(gdstk.Label('vo_pre', (7.295,24.95), layer=8, texttype=25))
output_amp.add(gdstk.Label('vo_pre', (9.505,24.95), layer=8, texttype=25))
output_amp.add(gdstk.Label('vo_pre', (11.715,24.95), layer=8, texttype=25))
output_amp.add(gdstk.Label('vo_pre', (2.875,35.35), layer=8, texttype=25))
output_amp.add(gdstk.Label('vo_pre', (5.085,35.35), layer=8, texttype=25))
output_amp.add(gdstk.Label('vo_pre', (7.295,35.35), layer=8, texttype=25))
output_amp.add(gdstk.Label('vo_pre', (9.505,35.35), layer=8, texttype=25))
output_amp.add(gdstk.Label('vo_pre', (11.715,35.35), layer=8, texttype=25))
output_amp.add(gdstk.Label('vo', (18.55,27.715), layer=8, texttype=25))
output_amp.add(gdstk.Label('ibias', (25.28,25.67), layer=8, texttype=25))
output_amp.add(gdstk.Label('vss', (24.35,27.715), layer=8, texttype=25))
output_amp.add(gdstk.Label('vss', (27.955,29.15), layer=8, texttype=25))
output_amp.add(gdstk.Label('vss', (28.92,28.55), layer=8, texttype=25))
output_amp.add(gdstk.Label('ibias', (32.95,25.67), layer=8, texttype=25))
output_amp.add(gdstk.Label('ibias', (24.95,32.09), layer=8, texttype=25))
output_amp.add(gdstk.Label('ibias', (30.95,32.09), layer=8, texttype=25))
output_amp.add(gdstk.Label('ibias', (21.42,32.65), layer=8, texttype=25))
output_amp.add(gdstk.Label('ibias', (21.42,22.75), layer=8, texttype=25))
output_amp.add(gdstk.Label('ibias', (24.95,25.67), layer=8, texttype=25))
output_amp.add(gdstk.Label('ibias', (27.955,34.95), layer=10, texttype=25))
output_amp.add(gdstk.Label('vcm', (28.92,22.75), layer=8, texttype=25))
output_amp.add(gdstk.Label('vn', (5.35,1.45), layer=8, texttype=25))
output_amp.add(gdstk.Label('vn', (5.35,8.55), layer=8, texttype=25))
output_amp.add(gdstk.Label('vp', (5.35,9.25), layer=8, texttype=25))
output_amp.add(gdstk.Label('vp', (5.37,16.35), layer=8, texttype=25))
output_amp.add(gdstk.Label('vn', (13.85,16.03), layer=8, texttype=25))
output_amp.add(gdstk.Label('vo', (0,24.5), layer=10, texttype=25))
output_amp.add(gdstk.Label('vdd', (34,20), layer=10, texttype=25))
output_amp.add(gdstk.Label('vss', (34,21.5), layer=10, texttype=25))
output_amp.add(gdstk.Label('ibias', (34,35), layer=10, texttype=25))
output_amp.add(gdstk.Label('vp', (19.5,-0.5), layer=10, texttype=25))
output_amp.add(gdstk.Label('vn', (0,-0.5), layer=10, texttype=25))

lib.write_gds('output_amp.gds')
